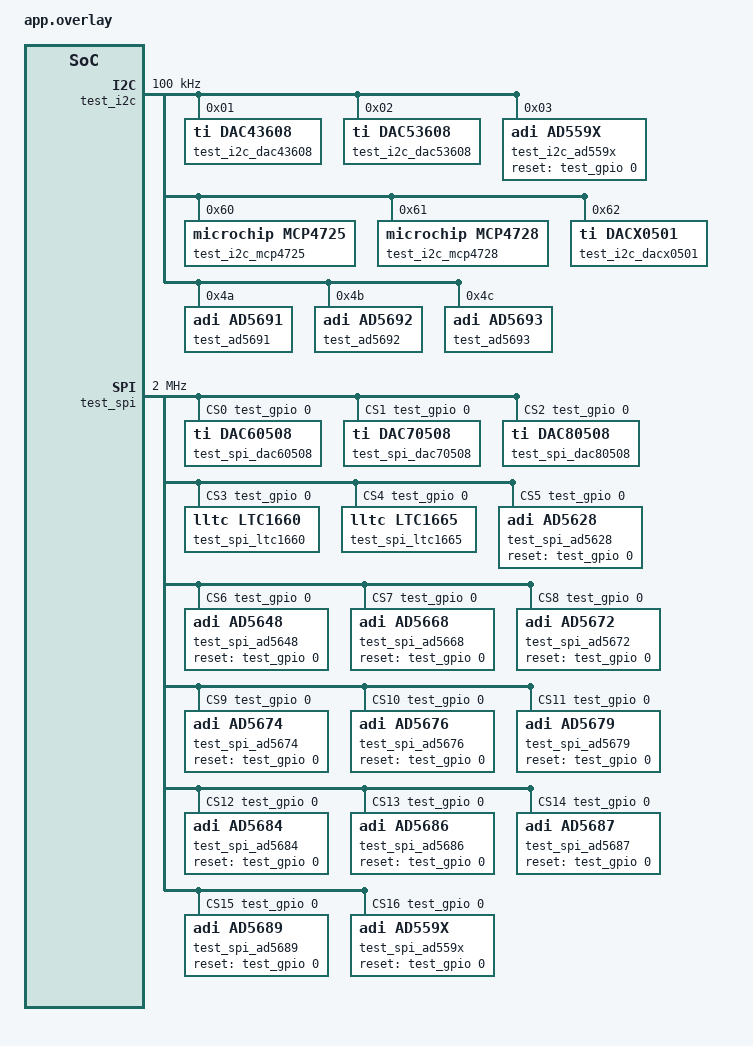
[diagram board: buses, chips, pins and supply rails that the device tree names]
/*
 * Copyright (c) 2020, Linaro Ltd.
 *
 * SPDX-License-Identifier: Apache-2.0
 *
 * Application overlay for testing driver builds
 *
 * Names in this file should be chosen in a way that won't conflict
 * with real-world devicetree nodes, to allow these tests to run on
 * (and be extended to test) real hardware.
 */

/ {
	test {
		#address-cells = <1>;
		#size-cells = <1>;

		test_gpio: gpio@deadbeef {
			compatible = "vnd,gpio";
			gpio-controller;
			reg = <0xdeadbeef 0x1000>;
			#gpio-cells = <0x2>;
			status = "okay";
		};

		test_i2c: i2c@11112222 {
			#address-cells = <1>;
			#size-cells = <0>;
			compatible = "vnd,i2c";
			reg = <0x11112222 0x1000>;
			status = "okay";
			clock-frequency = <100000>;

			test_i2c_dac43608: dac43608@1 {
				compatible = "ti,dac43608";
				reg = <0x1>;
				#io-channel-cells = <1>;
			};

			test_i2c_dac53608: dac53608@2 {
				compatible = "ti,dac53608";
				reg = <0x2>;
				#io-channel-cells = <1>;
			};

			test_i2c_ad559x: ad559x@3 {
				compatible = "adi,ad559x";
				status = "okay";
				reg = <0x3>;
				reset-gpios = <&test_gpio 0 0>;

				test_i2c_ad559x_dac: dac-controller {
					compatible = "adi,ad559x-dac";
					#io-channel-cells = <1>;
				};
			};

			test_i2c_mcp4725: mcp4725@60 {
				compatible = "microchip,mcp4725";
				reg = <0x60>;
				#io-channel-cells = <1>;
			};

			test_i2c_mcp4728: mcp4728@61 {
				compatible = "microchip,mcp4728";
				reg = <0x61>;
				#io-channel-cells = <1>;
				voltage_reference = <0>;
				power_down_mode = <0>;
			};

			test_i2c_dacx0501:dacx0501@62 {
				compatible = "ti,dacx0501";
				status = "okay";
				reg = <0x62>;
				voltage-reference = "internal";
				output-gain = "mul2";
			};

			test_ad5691: ad5691@4a {
				status = "okay";
				compatible = "adi,ad5691";
				reg = <0x4a>;
				#io-channel-cells = < 1 >;
			};

			test_ad5692: ad5692@4b {
				status = "okay";
				compatible = "adi,ad5692";
				reg = <0x4b>;
				#io-channel-cells = < 1 >;
			};

			test_ad5693: ad5693@4c {
				status = "okay";
				compatible = "adi,ad5693";
				reg = <0x4c>;
				#io-channel-cells = < 1 >;
			};
		};

		test_spi: spi@33334444 {
			#address-cells = <1>;
			#size-cells = <0>;
			compatible = "vnd,spi";
			reg = <0x33334444 0x1000>;
			status = "okay";
			clock-frequency = <2000000>;

			/* one entry for every devices at spi.dtsi */
			cs-gpios = <&test_gpio 0 0>,
				   <&test_gpio 0 0>,
				   <&test_gpio 0 0>,
				   <&test_gpio 0 0>,
				   <&test_gpio 0 0>,
				   <&test_gpio 0 0>,
				   <&test_gpio 0 0>,
				   <&test_gpio 0 0>,
				   <&test_gpio 0 0>,
				   <&test_gpio 0 0>,
				   <&test_gpio 0 0>,
				   <&test_gpio 0 0>,
				   <&test_gpio 0 0>,
				   <&test_gpio 0 0>,
				   <&test_gpio 0 0>,
				   <&test_gpio 0 0>,
				   <&test_gpio 0 0>;

			test_spi_dac60508: dac60508@0 {
				compatible = "ti,dac60508";
				reg = <0x0>;
				spi-max-frequency = <0>;
				#io-channel-cells = <1>;
				voltage-reference = <0>;
				channel0-gain = <0>;
				channel1-gain = <0>;
				channel2-gain = <0>;
				channel3-gain = <0>;
				channel4-gain = <0>;
				channel5-gain = <0>;
				channel6-gain = <0>;
				channel7-gain = <0>;
			};

			test_spi_dac70508: dac70508@1 {
				compatible = "ti,dac70508";
				reg = <0x1>;
				spi-max-frequency = <0>;
				#io-channel-cells = <1>;
				voltage-reference = <0>;
				channel0-gain = <0>;
				channel1-gain = <0>;
				channel2-gain = <0>;
				channel3-gain = <0>;
				channel4-gain = <0>;
				channel5-gain = <0>;
				channel6-gain = <0>;
				channel7-gain = <0>;
			};

			test_spi_dac80508: dac80508@2 {
				compatible = "ti,dac80508";
				reg = <0x2>;
				spi-max-frequency = <0>;
				#io-channel-cells = <1>;
				voltage-reference = <0>;
				channel0-gain = <0>;
				channel1-gain = <0>;
				channel2-gain = <0>;
				channel3-gain = <0>;
				channel4-gain = <0>;
				channel5-gain = <0>;
				channel6-gain = <0>;
				channel7-gain = <0>;
			};

			test_spi_ltc1660: ltc1660@3 {
				compatible = "lltc,ltc1660";
				reg = <0x3>;
				spi-max-frequency = <0>;
				#io-channel-cells = <1>;
			};

			test_spi_ltc1665: ltc1665@4 {
				compatible = "lltc,ltc1665";
				reg = <0x4>;
				spi-max-frequency = <0>;
				#io-channel-cells = <1>;
			};

			test_spi_ad5628: ad5628@5 {
				compatible = "adi,ad5628";
				reg = <0x5>;
				spi-max-frequency = <0>;
				#io-channel-cells = <1>;
				reset-gpios = <&test_gpio 0 0>;
			};

			test_spi_ad5648: ad5648@6 {
				compatible = "adi,ad5648";
				reg = <0x6>;
				spi-max-frequency = <0>;
				#io-channel-cells = <1>;
				reset-gpios = <&test_gpio 0 0>;
			};

			test_spi_ad5668: ad5668@7 {
				compatible = "adi,ad5668";
				reg = <0x7>;
				spi-max-frequency = <0>;
				#io-channel-cells = <1>;
				reset-gpios = <&test_gpio 0 0>;
			};

			test_spi_ad5672: ad5672@8 {
				compatible = "adi,ad5672";
				reg = <0x8>;
				spi-max-frequency = <0>;
				#io-channel-cells = <1>;
				reset-gpios = <&test_gpio 0 0>;
			};

			test_spi_ad5674: ad5674@9 {
				compatible = "adi,ad5674";
				reg = <0x9>;
				spi-max-frequency = <0>;
				#io-channel-cells = <1>;
				reset-gpios = <&test_gpio 0 0>;
			};

			test_spi_ad5676: ad5676@a {
				compatible = "adi,ad5676";
				reg = <0xA>;
				spi-max-frequency = <0>;
				#io-channel-cells = <1>;
				reset-gpios = <&test_gpio 0 0>;
			};

			test_spi_ad5679: ad5679@b {
				compatible = "adi,ad5679";
				reg = <0xB>;
				spi-max-frequency = <0>;
				#io-channel-cells = <1>;
				reset-gpios = <&test_gpio 0 0>;
			};

			test_spi_ad5684: ad5684@c {
				compatible = "adi,ad5684";
				reg = <0xC>;
				spi-max-frequency = <0>;
				#io-channel-cells = <1>;
				reset-gpios = <&test_gpio 0 0>;
			};

			test_spi_ad5686: ad5686@d {
				compatible = "adi,ad5686";
				reg = <0xD>;
				spi-max-frequency = <0>;
				#io-channel-cells = <1>;
				reset-gpios = <&test_gpio 0 0>;
			};

			test_spi_ad5687: ad5687@e {
				compatible = "adi,ad5687";
				reg = <0xE>;
				spi-max-frequency = <0>;
				#io-channel-cells = <1>;
				reset-gpios = <&test_gpio 0 0>;
			};

			test_spi_ad5689: ad5689@f {
				compatible = "adi,ad5689";
				reg = <0xF>;
				spi-max-frequency = <0>;
				#io-channel-cells = <1>;
				reset-gpios = <&test_gpio 0 0>;
			};

			test_spi_ad559x: ad559x@10 {
				compatible = "adi,ad559x";
				status = "okay";
				reg = <0x10>;
				spi-max-frequency = <0>;
				reset-gpios = <&test_gpio 0 0>;

				test_spi_ad559x_dac: dac-controller {
					compatible = "adi,ad559x-dac";
					#io-channel-cells = <1>;
				};
			};
		};
	};
};
